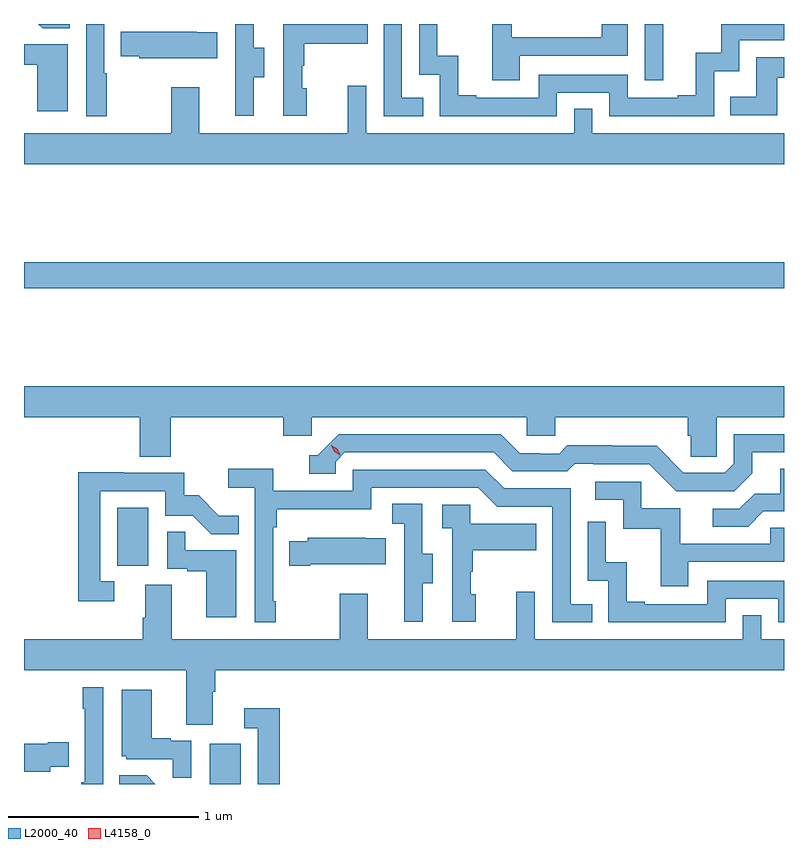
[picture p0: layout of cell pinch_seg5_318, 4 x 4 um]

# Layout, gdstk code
import gdstk
lib = gdstk.Library(unit=1e-6, precision=1e-09)
def R(c, l, rs):  # rectangles x0, y0, x1, y1
    for r in rs: c.add(gdstk.rectangle(r[:2], r[2:], *l))
def P(c, l, *ps):  # polygons
    for p in ps: c.add(gdstk.Polygon(p, *l))
L2000_40 = (2000, 40)
L4158_0 = (4158, 0)

pinch_seg5_318 = lib.new_cell('pinch_seg5_318')
R(pinch_seg5_318, L2000_40, [(938.144,874.81,938.308,875.023), (937.658,875.958,937.822,876.265), (937.167,877.42,941.167,877.556), (940.434,878.514,940.531,878.81)])
P(pinch_seg5_318, L2000_40, [(937.603,878.552),(937.59,878.552),(937.59,878.81),(937.494,878.81),(937.494,878.325),(937.603,878.325)],
  [(939.972,878.448),(940.248,878.448),(940.248,878.325),(940.8,878.325),(940.8,878.561),(940.932,878.561),(940.932,878.724),(941.167,878.724),(941.167,878.81),(940.836,878.81),(940.836,878.659),(940.703,878.659),(940.703,878.434),(940.607,878.434),(940.607,878.421),(940.344,878.421),(940.344,878.544),(939.876,878.544),(939.876,878.421),(939.547,878.421),(939.547,878.434),(939.452,878.434),(939.452,878.642),(939.342,878.642),(939.342,878.81),(939.246,878.81),(939.246,878.544),(939.354,878.544),(939.354,878.325),(939.972,878.325)],
  [(939.775,878.643),(940.344,878.643),(940.344,878.81),(940.207,878.81),(940.207,878.739),(939.733,878.739),(939.733,878.81),(939.631,878.81),(939.631,878.514),(939.775,878.514)],
  [(938.377,878.53),(938.431,878.53),(938.431,878.685),(938.376,878.685),(938.376,878.81),(938.28,878.81),(938.28,878.541),(938.279,878.541),(938.279,878.328),(938.377,878.328)],
  [(939.269,878.421),(939.156,878.421),(939.156,878.81),(939.06,878.81),(939.06,878.325),(939.269,878.325)],
  [(938.656,878.472),(938.631,878.472),(938.631,878.591),(938.641,878.591),(938.641,878.705),(938.975,878.705),(938.975,878.81),(938.532,878.81),(938.532,878.328),(938.656,878.328)],
  [(937.409,878.81),(937.243,878.81),(937.265,878.788),(937.409,878.788)],
  [(938.183,878.767),(938.075,878.767),(938.075,878.77),(937.675,878.77),(937.675,878.641),(937.773,878.641),(937.773,878.63),(938.183,878.63)],
  [(937.396,878.703),(937.167,878.703),(937.167,878.595),(937.238,878.595),(937.238,878.352),(937.396,878.352)],
  [(941.131,878.526),(941.167,878.526),(941.167,878.634),(941.02,878.634),(941.02,878.428),(940.885,878.428),(940.885,878.331),(941.131,878.331)],
  [(941.167,878.236),(940.158,878.236),(940.158,878.363),(940.062,878.363),(940.062,878.236),(938.967,878.236),(938.967,878.485),(938.87,878.485),(938.87,878.236),(938.089,878.236),(938.089,878.476),(937.942,878.476),(937.942,878.236),(937.167,878.236),(937.167,878.072),(941.167,878.072)],
  [(937.94,876.74),(938.531,876.74),(938.531,876.642),(938.682,876.642),(938.682,876.74),(939.813,876.74),(939.813,876.642),(939.963,876.642),(939.963,876.74),(940.661,876.74),(940.661,876.642),(940.675,876.642),(940.675,876.532),(940.812,876.532),(940.812,876.74),(941.167,876.74),(941.167,876.904),(937.167,876.904),(937.167,876.74),(937.775,876.74),(937.775,876.532),(937.94,876.532)],
  [(940.999,876.445),(940.999,876.555),(941.167,876.555),(941.167,876.651),(940.902,876.651),(940.902,876.495),(940.854,876.447),(940.638,876.447),(940.496,876.589),(940.26,876.589),(940.26,876.592),(940.027,876.592),(939.985,876.549),(939.882,876.549),(939.882,876.552),(939.775,876.552),(939.676,876.651),(938.823,876.651),(938.712,876.54),(938.669,876.54),(938.669,876.444),(938.808,876.444),(938.808,876.507),(938.856,876.555),(939.639,876.555),(939.738,876.456),(940.027,876.456),(940.066,876.495),(940.165,876.495),(940.165,876.492),(940.458,876.492),(940.599,876.351),(940.905,876.351)],
  [(941.059,876.246),(941.167,876.246),(941.167,876.47),(941.147,876.47),(941.147,876.338),(941.012,876.338),(940.932,876.258),(940.791,876.258),(940.791,876.165),(940.978,876.165)],
  [(938.491,875.773),(938.478,875.773),(938.478,876.161),(938.498,876.161),(938.498,876.257),(938.994,876.257),(938.994,876.369),(939.558,876.369),(939.657,876.27),(939.948,876.27),(939.948,875.661),(940.157,875.661),(940.157,875.757),(940.044,875.757),(940.044,876.366),(939.694,876.366),(939.595,876.465),(938.898,876.465),(938.898,876.354),(938.48,876.354),(938.48,876.47),(938.241,876.47),(938.241,876.368),(938.382,876.368),(938.382,875.661),(938.491,875.661)],
  [(937.642,875.877),(937.569,875.877),(937.569,876.351),(937.911,876.351),(937.911,876.222),(938.055,876.222),(938.153,876.124),(938.297,876.124),(938.297,876.223),(938.193,876.223),(938.086,876.33),(938.01,876.33),(938.01,876.447),(937.691,876.447),(937.691,876.452),(937.453,876.452),(937.453,875.772),(937.642,875.772)],
  [(940.663,875.979),(941.167,875.979),(941.167,876.159),(941.095,876.159),(941.095,876.075),(940.621,876.075),(940.621,876.261),(940.416,876.261),(940.416,876.402),(940.173,876.402),(940.173,876.306),(940.32,876.306),(940.32,876.153),(940.519,876.153),(940.519,875.85),(940.663,875.85)],
  [(939.265,875.866),(939.319,875.866),(939.319,876.021),(939.264,876.021),(939.264,876.284),(939.105,876.284),(939.105,876.181),(939.168,876.181),(939.168,875.877),(939.167,875.877),(939.167,875.664),(939.265,875.664)],
  [(939.544,875.808),(939.519,875.808),(939.519,875.927),(939.529,875.927),(939.529,876.041),(939.863,876.041),(939.863,876.181),(939.516,876.181),(939.516,876.279),(939.369,876.279),(939.369,876.155),(939.42,876.155),(939.42,875.664),(939.544,875.664)],
  [(940.86,875.784),(941.136,875.784),(941.136,875.661),(941.167,875.661),(941.167,875.88),(940.764,875.88),(940.764,875.757),(940.435,875.757),(940.435,875.77),(940.34,875.77),(940.34,875.978),(940.23,875.978),(940.23,876.19),(940.134,876.19),(940.134,875.88),(940.242,875.88),(940.242,875.661),(940.86,875.661)],
  [(938.284,876.039),(938.015,876.039),(938.015,876.137),(937.92,876.137),(937.92,875.943),(938.027,875.943),(938.027,875.931),(938.126,875.931),(938.126,875.688),(938.284,875.688)],
  [(938.674,875.966),(939.071,875.966),(939.071,876.103),(938.963,876.103),(938.963,876.106),(938.661,876.106),(938.661,876.088),(938.563,876.088),(938.563,875.959),(938.674,875.959)],
  [(938.161,875.296),(938.174,875.296),(938.174,875.408),(941.167,875.408),(941.167,875.572),(941.046,875.572),(941.046,875.699),(940.95,875.699),(940.95,875.572),(939.855,875.572),(939.855,875.821),(939.758,875.821),(939.758,875.572),(938.977,875.572),(938.977,875.812),(938.83,875.812),(938.83,875.572),(937.945,875.572),(937.945,875.858),(937.805,875.858),(937.805,875.684),(937.793,875.684),(937.793,875.572),(937.167,875.572),(937.167,875.408),(938.021,875.408),(938.021,875.122),(938.161,875.122)],
  [(937.584,875.32),(937.476,875.32),(937.476,875.207),(937.488,875.207),(937.488,874.819),(937.468,874.819),(937.468,874.81),(937.584,874.81)],
  [(938.046,875.037),(937.94,875.037),(937.94,875.05),(937.84,875.05),(937.84,875.305),(937.682,875.305),(937.682,874.956),(937.704,874.956),(937.704,874.941),(937.951,874.941),(937.951,874.843),(938.046,874.843)],
  [(938.513,875.209),(938.325,875.209),(938.325,875.103),(938.397,875.103),(938.397,874.81),(938.513,874.81)],
  [(937.305,874.901),(937.403,874.901),(937.403,875.031),(937.292,875.031),(937.292,875.023),(937.167,875.023),(937.167,874.874),(937.305,874.874)],
  [(937.813,874.856),(937.669,874.856),(937.669,874.81),(937.859,874.81)])
P(pinch_seg5_318, L4158_0, [(938.832,876.541),(938.801,876.56),(938.785,876.593),(938.785,876.593),(938.785,876.593),(938.816,876.574),(938.832,876.541),(938.832,876.541)])

lib.write_gds('pinch_seg5_318.gds')
